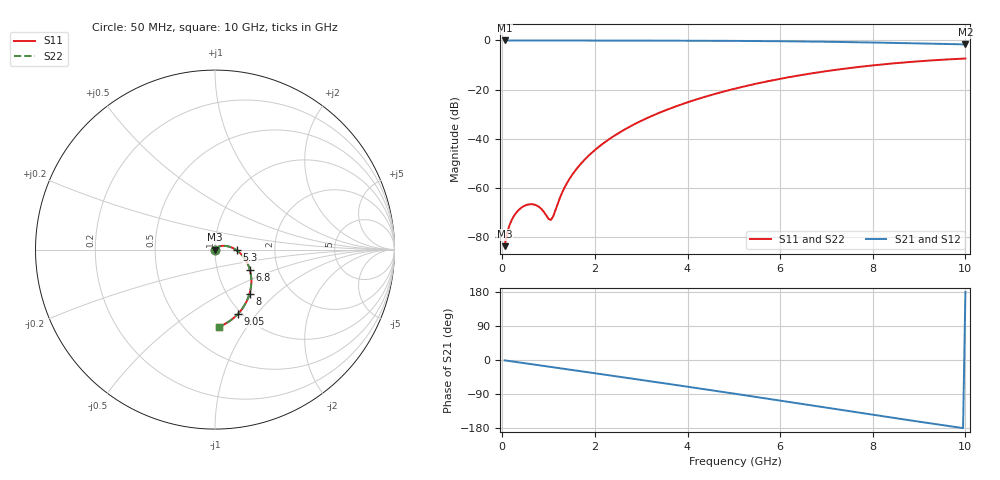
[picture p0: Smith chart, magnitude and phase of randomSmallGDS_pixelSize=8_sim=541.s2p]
! freq	dB(S11)	phase(S11)	dB(S12)	phase(S12)
!  dB(S21)	phase(S21)	dB(S22)	phase(S22)
!S-par simulation data
#  GHz  S  DB  R 50
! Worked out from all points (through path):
!   200 points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, 50 MHz to 10 GHz, reference 50 ohm
!   highest |S21| = 0.00 dB at 50 MHz (marker M1); lowest = -1.6 dB at 10 GHz (marker M2)
!   group delay of S21, straight-line fit = 50.5 ps
!   lowest |S11| = -83.6 dB at 50 MHz (marker M3), VSWR 1.00, Z = 50 - j0.00576 ohm
!   |S11| at or under -10 dB: start of sweep to 8.066 GHz
!   |S22| runs from -83.6 to -7.3 dB; largest |S21 - S12| = 0
!   S11 on the Smith chart (normalised r, x): 50 MHz: 1.00, -0.00; 5.3 GHz: 1.28, -0.01; 6.8 GHz: 1.44, -0.34; 8 GHz: 1.27, -0.69; 9.05 GHz: 0.96, -0.81; 10 GHz: 0.72, -0.76
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0.05  -83.56 -60.2  -0.00 -0.9  -0.00 -0.9  -83.55 -60.2
0.1  -78.56 -75.8  -0.00 -1.8  -0.00 -1.8  -78.55 -75.8
0.15  -75.33 -82.5  -0.00 -2.6  -0.00 -2.6  -75.33 -82.5
0.25  -71.32 -89.7  -0.00 -4.4  -0.00 -4.4  -71.32 -89.6
0.5  -66.98 -101.0  -0.01 -8.8  -0.01 -8.8  -66.98 -100.8
0.75  -67.09 -114.9  -0.02 -13.1  -0.02 -13.1  -67.10 -114.3
1.05  -72.90 168.2  -0.02 -18.4  -0.02 -18.4  -73.20 168.5
1.1  -71.43 140.0  -0.02 -19.2  -0.02 -19.2  -71.71 139.4
1.3  -61.48 93.0  -0.03 -22.7  -0.03 -22.7  -61.54 92.2
1.4  -57.83 85.2  -0.03 -24.5  -0.03 -24.5  -57.87 84.6
1.75  -48.97 70.5  -0.03 -30.6  -0.03 -30.6  -48.98 70.1
2.05  -43.72 62.3  -0.04 -35.8  -0.04 -35.8  -43.73 62.0
2.45  -38.33 53.0  -0.05 -42.9  -0.05 -42.9  -38.34 52.8
3.4  -29.30 33.8  -0.07 -59.7  -0.07 -59.7  -29.31 33.6
5.05  -19.46 2.8  -0.18 -89.6  -0.18 -89.6  -19.46 2.7
5.3  -18.34 -1.9  -0.21 -94.2  -0.21 -94.2  -18.34 -2.0
6.7  -13.31 -27.9  -0.45 -120.2  -0.45 -120.2  -13.31 -28.0
6.8  -13.02 -29.8  -0.48 -122.1  -0.48 -122.1  -13.02 -29.8
8  -10.13 -51.8  -0.83 -144.4  -0.83 -144.4  -10.13 -51.8
8.35  -9.47 -58.1  -0.95 -150.9  -0.95 -150.9  -9.48 -58.1
9.05  -8.38 -70.5  -1.22 -163.7  -1.22 -163.7  -8.39 -70.5
10  -7.34 -86.8  -1.60 179.3  -1.60 179.3  -7.34 -86.9
